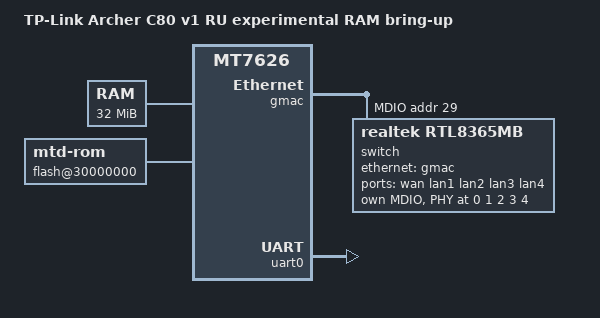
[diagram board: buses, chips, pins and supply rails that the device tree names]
// SPDX-License-Identifier: GPL-2.0-only
// Minimal experimental RAM-boot description, not a complete OpenWrt board DTS.
/dts-v1/;
#include <dt-bindings/interrupt-controller/arm-gic.h>

/ {
    model = "TP-Link Archer C80 v1 RU experimental RAM bring-up";
    compatible = "tplink,archer-c80-v1", "mediatek,mt7626";
    #address-cells = <1>;
    #size-cells = <1>;
    interrupt-parent = <&gic>;

    aliases { serial0 = &uart0; };
    chosen {
        stdout-path = "serial0:115200n8";
        bootargs = "console=ttyS0,115200n8 earlycon=uart8250,mmio32,0x11002000 loglevel=8 rdinit=/init panic=0 clk_ignore_unused";
    };

    memory@40000000 {
        device_type = "memory";
        reg = <0x40000000 0x02000000>;
    };

    cpus {
        #address-cells = <1>;
        #size-cells = <0>;
        cpu@0 {
            device_type = "cpu";
            compatible = "arm,cortex-a7";
            reg = <0>;
        };
    };

    uart_clk: uart-clock {
        compatible = "fixed-clock";
        #clock-cells = <0>;
        clock-frequency = <40000000>;
    };

    timer {
        compatible = "arm,armv7-timer";
        interrupts = <GIC_PPI 13 (GIC_CPU_MASK_SIMPLE(1) | IRQ_TYPE_LEVEL_HIGH)>,
                     <GIC_PPI 14 (GIC_CPU_MASK_SIMPLE(1) | IRQ_TYPE_LEVEL_HIGH)>,
                     <GIC_PPI 11 (GIC_CPU_MASK_SIMPLE(1) | IRQ_TYPE_LEVEL_HIGH)>,
                     <GIC_PPI 10 (GIC_CPU_MASK_SIMPLE(1) | IRQ_TYPE_LEVEL_HIGH)>;
        clock-frequency = <20000000>;
    };

    soc {
        compatible = "simple-bus";
        #address-cells = <1>;
        #size-cells = <1>;
        ranges;

        // Temporary read-only view of the factory-configured SPI NOR aperture.
        // This does not describe the SPI controller or enable NOR write opcodes.
        flash@30000000 {
            compatible = "mtd-rom";
            reg = <0x30000000 0x00400000>;
            bank-width = <1>;
        };

        // Temporary diagnostic PDMA driver: retain the working U-Boot MAC/PCS.
        gmac: ethernet@1b100000 {
            compatible = "tplink,c80-ram-pdma";
            reg = <0x1b100000 0x20000>, <0x1b128000 0x200>, <0x1b000000 0x1000>;
            reg-names = "fe", "sgmii", "ethsys";
            interrupt-parent = <&sysirq>;
            interrupts = <GIC_SPI 223 IRQ_TYPE_LEVEL_LOW>;
            tplink,dsa-conduit;
            status = "okay";
            mdio {
                #address-cells = <1>;
                #size-cells = <0>;
                switch@1d {
                    compatible = "realtek,rtl8365mb";
                    reg = <29>;
                    tplink,c80-ram-inherit-hsgmii;
                    ports {
                        #address-cells = <1>;
                        #size-cells = <0>;
                        port@0 { reg = <0>; label = "wan"; phy-mode = "internal"; phy-handle = <&phy0>; };
                        port@1 { reg = <1>; label = "lan1"; phy-mode = "internal"; phy-handle = <&phy1>; };
                        port@2 { reg = <2>; label = "lan2"; phy-mode = "internal"; phy-handle = <&phy2>; };
                        port@3 { reg = <3>; label = "lan3"; phy-mode = "internal"; phy-handle = <&phy3>; };
                        port@4 { reg = <4>; label = "lan4"; phy-mode = "internal"; phy-handle = <&phy4>; };
                        port@6 {
                            reg = <6>;
                            ethernet = <&gmac>;
                            phy-mode = "2500base-x";
                            fixed-link { speed = <2500>; full-duplex; };
                        };
                    };
                    mdio {
                        #address-cells = <1>;
                        #size-cells = <0>;
                        phy0: ethernet-phy@0 { reg = <0>; };
                        phy1: ethernet-phy@1 { reg = <1>; };
                        phy2: ethernet-phy@2 { reg = <2>; };
                        phy3: ethernet-phy@3 { reg = <3>; };
                        phy4: ethernet-phy@4 { reg = <4>; };
                    };
                };
            };
        };

        // Address independently identified in installed TPOS polarity code.
        sysirq: interrupt-controller@10200a80 {
            compatible = "mediatek,mt7626-sysirq", "mediatek,mt6577-sysirq";
            reg = <0x10200a80 0x20>;
            interrupt-controller;
            #interrupt-cells = <3>;
            #address-cells = <0>;
            interrupt-parent = <&gic>;
        };

        gic: interrupt-controller@10310000 {
            compatible = "arm,gic-400";
            reg = <0x10310000 0x1000>, <0x10320000 0x1000>;
            interrupt-controller;
            #interrupt-cells = <3>;
            #address-cells = <0>;
        };

        uart0: serial@11002000 {
            compatible = "mediatek,mt6577-uart";
            reg = <0x11002000 0x400>;
            clocks = <&uart_clk>, <&uart_clk>;
            clock-names = "baud", "bus";
            // Temporary opt-in for the local driver patch: no guessed UART IRQ.
            tplink,bringup-polling;
            status = "okay";
        };
    };
};
